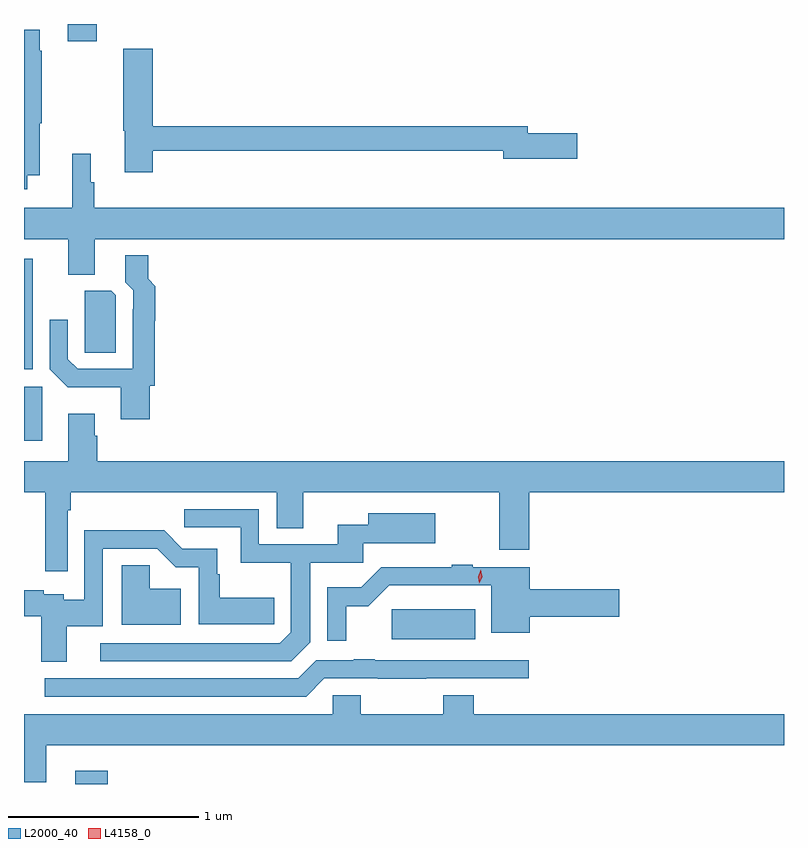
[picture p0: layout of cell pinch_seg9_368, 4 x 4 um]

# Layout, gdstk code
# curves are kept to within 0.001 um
import gdstk
lib = gdstk.Library(unit=1e-6, precision=1e-09)
def R(c, l, rs):  # rectangles x0, y0, x1, y1
    for r in rs: c.add(gdstk.rectangle(r[:2], r[2:], *l))
def P(c, l, *ps):  # polygons
    for p in ps: c.add(gdstk.Polygon(p, *l))
L2000_40 = (2000, 40)
L4158_0 = (4158, 0)

pinch_seg9_368 = lib.new_cell('pinch_seg9_368')
R(pinch_seg9_368, L2000_40, [(267.21,1234.844,267.382,1234.915), (268.875,1235.606,269.314,1235.764), (266.94,1236.651,267.037,1236.936), (266.94,1237.028,266.986,1237.609), (267.17,1238.754,267.323,1238.844)])
P(pinch_seg9_368, L2000_40, [(266.956,1238.048),(267.022,1238.048),(267.022,1238.322),(267.034,1238.322),(267.034,1238.702),(267.022,1238.702),(267.022,1238.815),(266.94,1238.815),(266.94,1237.974),(266.956,1237.974)],
  [(267.617,1238.178),(269.462,1238.178),(269.462,1238.135),(269.851,1238.135),(269.851,1238.27),(269.59,1238.27),(269.59,1238.306),(267.617,1238.306),(267.617,1238.713),(267.463,1238.713),(267.463,1238.283),(267.47,1238.283),(267.47,1238.064),(267.617,1238.064)],
  [(267.313,1237.712),(270.94,1237.712),(270.94,1237.876),(267.311,1237.876),(267.311,1238.01),(267.292,1238.01),(267.292,1238.161),(267.193,1238.161),(267.193,1237.876),(266.94,1237.876),(266.94,1237.712),(267.173,1237.712),(267.173,1237.525),(267.313,1237.525)],
  [(267.602,1236.939),(267.629,1236.939),(267.629,1237.282),(267.632,1237.282),(267.632,1237.464),(267.593,1237.503),(267.593,1237.627),(267.473,1237.627),(267.473,1237.486),(267.516,1237.443),(267.516,1237.343),(267.513,1237.343),(267.513,1237.029),(267.222,1237.029),(267.171,1237.08),(267.171,1237.288),(267.075,1237.288),(267.075,1237.026),(267.169,1236.932),(267.449,1236.932),(267.449,1236.765),(267.602,1236.765)],
  [(267.423,1237.416),(267.399,1237.44),(267.26,1237.44),(267.26,1237.225),(267.261,1237.225),(267.261,1237.114),(267.423,1237.114)],
  [(267.169,1236.284),(267.187,1236.284),(267.187,1236.38),(268.271,1236.38),(268.271,1236.19),(268.411,1236.19),(268.411,1236.38),(269.44,1236.38),(269.44,1236.078),(269.6,1236.078),(269.6,1236.38),(270.94,1236.38),(270.94,1236.544),(267.326,1236.544),(267.326,1236.677),(267.313,1236.677),(267.313,1236.793),(267.173,1236.793),(267.173,1236.544),(266.94,1236.544),(266.94,1236.38),(267.051,1236.38),(267.051,1235.964),(267.169,1235.964)],
  [(268.447,1235.59),(268.447,1236.009),(268.726,1236.009),(268.726,1236.111),(269.104,1236.111),(269.104,1236.268),(268.751,1236.268),(268.751,1236.208),(268.592,1236.208),(268.592,1236.105),(268.176,1236.105),(268.176,1236.291),(267.783,1236.291),(267.783,1236.196),(268.08,1236.196),(268.08,1236.008),(268.344,1236.008),(268.344,1235.643),(268.287,1235.586),(267.342,1235.586),(267.342,1235.49),(268.347,1235.49)],
  [(267.166,1235.675),(267.354,1235.675),(267.354,1236.081),(267.642,1236.081),(267.738,1235.985),(267.861,1235.985),(267.861,1235.684),(268.258,1235.685),(268.258,1235.824),(267.97,1235.824),(267.97,1235.949),(267.957,1235.949),(267.957,1236.081),(267.774,1236.081),(267.677,1236.179),(267.258,1236.179),(267.258,1235.815),(267.148,1235.815),(267.148,1235.844),(267.044,1235.844),(267.044,1235.864),(266.94,1235.864),(266.94,1235.728),(267.031,1235.728),(267.031,1235.487),(267.166,1235.487)],
  [(268.635,1235.779),(268.753,1235.779),(268.863,1235.889),(269.399,1235.889),(269.399,1235.639),(269.602,1235.639),(269.602,1235.723),(270.073,1235.723),(270.073,1235.87),(269.602,1235.87),(269.602,1235.985),(269.303,1235.985),(269.303,1235.998),(269.191,1235.998),(269.191,1235.985),(268.821,1235.985),(268.716,1235.88),(268.536,1235.88),(268.536,1235.598),(268.635,1235.598)],
  [(267.766,1235.872),(267.602,1235.872),(267.602,1235.995),(267.455,1235.995),(267.455,1235.681),(267.766,1235.681)],
  [(268.521,1235.4),(269.596,1235.4),(269.596,1235.496),(268.787,1235.496),(268.787,1235.501),(268.676,1235.501),(268.676,1235.496),(268.479,1235.496),(268.383,1235.4),(267.048,1235.4),(267.048,1235.304),(268.425,1235.304)],
  [(267.058,1235.048),(270.94,1235.048),(270.94,1235.212),(269.306,1235.212),(269.306,1235.311),(269.146,1235.311),(269.146,1235.212),(268.713,1235.212),(268.713,1235.31),(268.566,1235.31),(268.566,1235.212),(266.94,1235.212),(266.94,1234.854),(267.058,1234.854)])
P(pinch_seg9_368, L4158_0, [(269.337,1235.9),(269.337,1235.9),(269.331,1235.936),(269.345,1235.971),(269.345,1235.971),(269.345,1235.971),(269.351,1235.934),(269.337,1235.9)])

lib.write_gds('pinch_seg9_368.gds')
